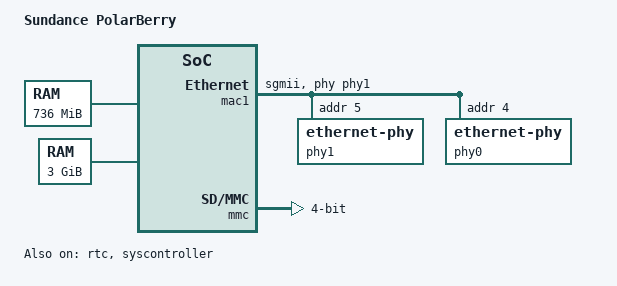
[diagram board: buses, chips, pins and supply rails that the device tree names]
// SPDX-License-Identifier: (GPL-2.0 OR MIT)
/* Copyright (c) 2020-2022 Microchip Technology Inc */

/dts-v1/;

#include "mpfs.dtsi"
#include "mpfs-polarberry-fabric.dtsi"

/ {
	model = "Sundance PolarBerry";
	compatible = "sundance,polarberry", "microchip,mpfs";

	aliases {
		ethernet0 = &mac1;
		serial0 = &mmuart0;
	};

	chosen {
		stdout-path = "serial0:115200n8";
	};

	ddrc_cache_lo: memory@80000000 {
		device_type = "memory";
		reg = <0x0 0x80000000 0x0 0x2e000000>;
	};

	ddrc_cache_hi: memory@1000000000 {
		device_type = "memory";
		reg = <0x10 0x00000000 0x0 0xC0000000>;
	};
};

&irqmux {
	interrupt-map = <0 &plic 13>, <1 &plic 14>, <2 &plic 15>,
			<3 &plic 16>, <4 &plic 17>, <5 &plic 18>,
			<6 &plic 19>, <7 &plic 20>, <8 &plic 21>,
			<9 &plic 22>, <10 &plic 23>, <11 &plic 24>,
			<12 &plic 25>, <13 &plic 26>,

			<32 &plic 27>, <33 &plic 28>, <34 &plic 29>,
			<35 &plic 30>, <36 &plic 31>, <37 &plic 32>,
			<38 &plic 33>, <39 &plic 34>, <40 &plic 35>,
			<41 &plic 36>, <42 &plic 37>, <43 &plic 38>,
			<44 &plic 39>, <45 &plic 40>, <46 &plic 41>,
			<47 &plic 42>, <48 &plic 43>, <49 &plic 44>,
			<50 &plic 45>, <51 &plic 46>, <52 &plic 47>,
			<53 &plic 48>, <54 &plic 49>, <55 &plic 50>,

			<64 &plic 53>, <65 &plic 53>, <66 &plic 53>,
			<67 &plic 53>, <68 &plic 53>, <69 &plic 53>,
			<70 &plic 53>, <71 &plic 53>, <72 &plic 53>,
			<73 &plic 53>, <74 &plic 53>, <75 &plic 53>,
			<76 &plic 53>, <77 &plic 53>, <78 &plic 53>,
			<79 &plic 53>, <80 &plic 53>, <81 &plic 53>,
			<82 &plic 53>, <83 &plic 53>, <84 &plic 53>,
			<85 &plic 53>, <86 &plic 53>, <87 &plic 53>,
			<88 &plic 53>, <89 &plic 53>, <90 &plic 53>,
			<91 &plic 53>, <92 &plic 53>, <93 &plic 53>,
			<94 &plic 53>, <95 &plic 53>;
};

/*
 * phy0 is connected to mac0, but the port itself is on the (optional) carrier
 * board.
 */
&mac0 {
	phy-mode = "sgmii";
	phy-handle = <&phy0>;
	status = "disabled";
};

&mac1 {
	phy-mode = "sgmii";
	phy-handle = <&phy1>;
	status = "okay";

	phy1: ethernet-phy@5 {
		reg = <5>;
	};

	phy0: ethernet-phy@4 {
		reg = <4>;
	};
};

&mbox {
	status = "okay";
};

&mmc {
	bus-width = <4>;
	disable-wp;
	cap-sd-highspeed;
	cap-mmc-highspeed;
	mmc-ddr-1_8v;
	mmc-hs200-1_8v;
	sd-uhs-sdr12;
	sd-uhs-sdr25;
	sd-uhs-sdr50;
	sd-uhs-sdr104;
	status = "okay";
};

&mmuart0 {
	status = "okay";
};

&refclk {
	clock-frequency = <125000000>;
};

&rtc {
	status = "okay";
};

&syscontroller {
	status = "okay";
};
